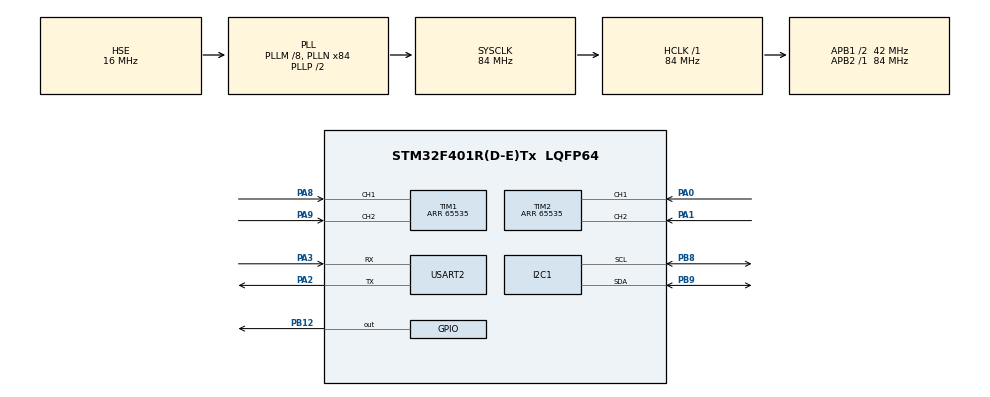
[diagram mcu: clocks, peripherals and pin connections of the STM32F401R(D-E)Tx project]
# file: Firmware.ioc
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Mcu.Family=STM32F4
RCC.PLLSourceVirtual=RCC_PLLSOURCE_HSE
TIM1.IC1Prescaler=TIM_ICPSC_DIV1
RCC.CortexFreq_Value=84000000
TIM2.IC1Filter=15
PA14.GPIO_Label=TCK
PH1\ -\ OSC_OUT.Mode=HSE-External-Oscillator
TIM1.EncoderMode=TIM_ENCODERMODE_TI1
RCC.APB1CLKDivider=RCC_HCLK_DIV2
PA9.GPIO_PuPd=GPIO_PULLUP
RCC.SYSCLKSource=RCC_SYSCLKSOURCE_PLLCLK
ProjectManager.StackSize=0x400
PA0-WKUP.Signal=S_TIM2_CH1_ETR
TIM1.ClockDivision=TIM_CLOCKDIVISION_DIV4
PA13.Signal=SYS_JTMS-SWDIO
PA3.Mode=Asynchronous
SH.S_TIM2_CH2.0=TIM2_CH2,Encoder_Interface
PH0\ -\ OSC_IN.Mode=HSE-External-Oscillator
SH.S_TIM1_CH1.0=TIM1_CH1,Encoder_Interface
PH0\ -\ OSC_IN.Signal=RCC_OSC_IN
ProjectManager.TargetToolchain=SW4STM32
RCC.HCLKFreq_Value=84000000
PB9.Mode=I2C
RCC.APB2TimFreq_Value=84000000
PA9.Signal=S_TIM1_CH2
PB12.PinState=GPIO_PIN_SET
TIM2.ClockDivision=TIM_CLOCKDIVISION_DIV4
PA1.GPIO_PuPd=GPIO_PULLUP
PA1.Signal=S_TIM2_CH2
RCC.AHBFreq_Value=84000000
RCC.HSE_VALUE=16000000
PH1\ -\ OSC_OUT.Signal=RCC_OSC_OUT
PB3.Mode=Trace_Asynchronous_SW
board=NUCLEO-F401RE
RCC.VCOOutputFreq_Value=168000000
TIM1.IC2Polarity=TIM_ICPOLARITY_FALLING
TIM1.TIM_MasterOutputTrigger=TIM_TRGO_RESET
RCC.APB2Freq_Value=84000000
SH.S_TIM1_CH2.0=TIM1_CH2,Encoder_Interface
PA14.Mode=Trace_Asynchronous_SW
NVIC.TIM2_IRQn=true\:0\:0\:false\:false\:true\:true\:true
PA8.Signal=S_TIM1_CH1
TIM2.Period=65535
PA13.Mode=Trace_Asynchronous_SW
Mcu.Name=STM32F401R(D-E)Tx
PA2.Signal=USART2_TX
PA13.GPIO_Label=TMS
NVIC.TIM1_CC_IRQn=true\:0\:0\:false\:false\:true\:true\:true
RCC.48MHZClocksFreq_Value=24000000
PB3.Signal=SYS_JTDO-SWO
RCC.SYSCLKFreq_VALUE=84000000
Mcu.Package=LQFP64
PB9.Signal=I2C1_SDA
TIM1.IC1Filter=15
USART2.VirtualMode=VM_ASYNC
SH.S_TIM2_CH1_ETR.0=TIM2_CH1,Encoder_Interface
PA14.Signal=SYS_JTCK-SWCLK
ProjectManager.HeapSize=0x200
RCC.HSI_VALUE=16000000
PA8.GPIO_PuPd=GPIO_PULLUP
RCC.PLLQ=7
NVIC.PriorityGroup=NVIC_PRIORITYGROUP_0
RCC.PLLM=8
PB8.Mode=I2C
RCC.PLLN=84
RCC.APB1TimFreq_Value=84000000
PA2.Mode=Asynchronous
PB8.Signal=I2C1_SCL
TIM1.IC2Prescaler=TIM_ICPSC_DIV4
PA0-WKUP.GPIO_PuPd=GPIO_PULLUP
TIM1.Period=65535
RCC.APB1Freq_Value=42000000
PB12.Signal=GPIO_Output
PA3.Signal=USART2_RX
PB3.GPIO_Label=SWO

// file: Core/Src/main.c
/* USER CODE BEGIN Header */
/* USER CODE END Header */

#include "main.h"

/* USER CODE BEGIN Includes */
#include <errno.h>
#include <sys/unistd.h> // STDOUT_FILENO, STDERR_FILENO
#include <stdbool.h>
#include "lib/ssd1306/ssd1306.h"
/* USER CODE END Includes */

I2C_HandleTypeDef hi2c1;

TIM_HandleTypeDef htim1;
TIM_HandleTypeDef htim2;

UART_HandleTypeDef huart2;

/* USER CODE BEGIN PV */
volatile int x = 64;
volatile int y = 64;
volatile bool shouldDraw = false;
enum DrawDirection {
    Left,
    Right,
    Up,
    Down
};
volatile enum DrawDirection dir;

/* USER CODE END PV */

void SystemClock_Config(void);

static void MX_GPIO_Init(void);

static void MX_TIM1_Init(void);

static void MX_USART2_UART_Init(void);

static void MX_I2C1_Init(void);

static void MX_TIM2_Init(void);

int main(void) {

    /* MCU Configuration--------------------------------------------------------*/

    /* Reset of all peripherals, Initializes the Flash interface and the Systick. */
    HAL_Init();

    /* Configure the system clock */
    SystemClock_Config();

    /* Initialize all configured peripherals */
    MX_GPIO_Init();
    MX_TIM1_Init();
    MX_USART2_UART_Init();
    MX_I2C1_Init();
    MX_TIM2_Init();
    /* USER CODE BEGIN 2 */

    HAL_TIM_Encoder_Start_IT(&htim2, TIM_CHANNEL_1);
    HAL_TIM_Encoder_Start_IT(&htim1, TIM_CHANNEL_1);

    ssd1306_Init();
    ssd1306_Fill(Black);

    /* USER CODE END 2 */

    /* Infinite loop */
    /* USER CODE BEGIN WHILE */
    while (1) {
        if (shouldDraw) {
            printf("shouldDraw: x = %d y = %d\r\n", x, y);

            switch (dir) {
                case Left:
                    x -= 1;
                    break;
                case Right:
                    x += 1;
                    break;
                case Up:
                    y -= 1;
                    break;
                case Down:
                    y += 1;
                    break;
            }

            ssd1306_DrawPixel(x, y, White);
            ssd1306_UpdateScreen();

            shouldDraw = false;
        }
        /* USER CODE END WHILE */

    }
}

void SystemClock_Config(void) {
    RCC_OscInitTypeDef RCC_OscInitStruct = {0};
    RCC_ClkInitTypeDef RCC_ClkInitStruct = {0};

    /** Configure the main internal regulator output voltage
    */
    __HAL_RCC_PWR_CLK_ENABLE();
    __HAL_PWR_VOLTAGESCALING_CONFIG(PWR_REGULATOR_VOLTAGE_SCALE2);
    /** Initializes the CPU, AHB and APB busses clocks
    */
    RCC_OscInitStruct.OscillatorType = RCC_OSCILLATORTYPE_HSE;
    RCC_OscInitStruct.HSEState = RCC_HSE_ON;
    RCC_OscInitStruct.PLL.PLLState = RCC_PLL_ON;
    RCC_OscInitStruct.PLL.PLLSource = RCC_PLLSOURCE_HSE;
    RCC_OscInitStruct.PLL.PLLM = 8;
    RCC_OscInitStruct.PLL.PLLN = 84;
    RCC_OscInitStruct.PLL.PLLP = RCC_PLLP_DIV2;
    RCC_OscInitStruct.PLL.PLLQ = 7;
    if (HAL_RCC_OscConfig(&RCC_OscInitStruct) != HAL_OK) {
        Error_Handler();
    }
    /** Initializes the CPU, AHB and APB busses clocks
    */
    RCC_ClkInitStruct.ClockType = RCC_CLOCKTYPE_HCLK | RCC_CLOCKTYPE_SYSCLK
                                  | RCC_CLOCKTYPE_PCLK1 | RCC_CLOCKTYPE_PCLK2;
    RCC_ClkInitStruct.SYSCLKSource = RCC_SYSCLKSOURCE_PLLCLK;
    RCC_ClkInitStruct.AHBCLKDivider = RCC_SYSCLK_DIV1;
    RCC_ClkInitStruct.APB1CLKDivider = RCC_HCLK_DIV2;
    RCC_ClkInitStruct.APB2CLKDivider = RCC_HCLK_DIV1;

    if (HAL_RCC_ClockConfig(&RCC_ClkInitStruct, FLASH_LATENCY_2) != HAL_OK) {
        Error_Handler();
    }
}

static void MX_I2C1_Init(void) {

    hi2c1.Instance = I2C1;
    hi2c1.Init.ClockSpeed = 100000;
    hi2c1.Init.DutyCycle = I2C_DUTYCYCLE_2;
    hi2c1.Init.OwnAddress1 = 0;
    hi2c1.Init.AddressingMode = I2C_ADDRESSINGMODE_7BIT;
    hi2c1.Init.DualAddressMode = I2C_DUALADDRESS_DISABLE;
    hi2c1.Init.OwnAddress2 = 0;
    hi2c1.Init.GeneralCallMode = I2C_GENERALCALL_DISABLE;
    hi2c1.Init.NoStretchMode = I2C_NOSTRETCH_DISABLE;
    if (HAL_I2C_Init(&hi2c1) != HAL_OK) {
        Error_Handler();
    }

}

static void MX_TIM1_Init(void) {

    TIM_Encoder_InitTypeDef sConfig = {0};
    TIM_MasterConfigTypeDef sMasterConfig = {0};

    htim1.Instance = TIM1;
    htim1.Init.Prescaler = 0;
    htim1.Init.CounterMode = TIM_COUNTERMODE_UP;
    htim1.Init.Period = 65535;
    htim1.Init.ClockDivision = TIM_CLOCKDIVISION_DIV4;
    htim1.Init.RepetitionCounter = 0;
    htim1.Init.AutoReloadPreload = TIM_AUTORELOAD_PRELOAD_DISABLE;
    sConfig.EncoderMode = TIM_ENCODERMODE_TI1;
    sConfig.IC1Polarity = TIM_ICPOLARITY_RISING;
    sConfig.IC1Selection = TIM_ICSELECTION_DIRECTTI;
    sConfig.IC1Prescaler = TIM_ICPSC_DIV1;
    sConfig.IC1Filter = 15;
    sConfig.IC2Polarity = TIM_ICPOLARITY_FALLING;
    sConfig.IC2Selection = TIM_ICSELECTION_DIRECTTI;
    sConfig.IC2Prescaler = TIM_ICPSC_DIV4;
    sConfig.IC2Filter = 0;
    if (HAL_TIM_Encoder_Init(&htim1, &sConfig) != HAL_OK) {
        Error_Handler();
    }
    sMasterConfig.MasterOutputTrigger = TIM_TRGO_RESET;
    sMasterConfig.MasterSlaveMode = TIM_MASTERSLAVEMODE_DISABLE;
    if (HAL_TIMEx_MasterConfigSynchronization(&htim1, &sMasterConfig) != HAL_OK) {
        Error_Handler();
    }

}

static void MX_TIM2_Init(void) {

    TIM_Encoder_InitTypeDef sConfig = {0};
    TIM_MasterConfigTypeDef sMasterConfig = {0};

    htim2.Instance = TIM2;
    htim2.Init.Prescaler = 0;
    htim2.Init.CounterMode = TIM_COUNTERMODE_UP;
    htim2.Init.Period = 65535;
    htim2.Init.ClockDivision = TIM_CLOCKDIVISION_DIV4;
    htim2.Init.AutoReloadPreload = TIM_AUTORELOAD_PRELOAD_DISABLE;
    sConfig.EncoderMode = TIM_ENCODERMODE_TI1;
    sConfig.IC1Polarity = TIM_ICPOLARITY_RISING;
    sConfig.IC1Selection = TIM_ICSELECTION_DIRECTTI;
    sConfig.IC1Prescaler = TIM_ICPSC_DIV1;
    sConfig.IC1Filter = 15;
    sConfig.IC2Polarity = TIM_ICPOLARITY_RISING;
    sConfig.IC2Selection = TIM_ICSELECTION_DIRECTTI;
    sConfig.IC2Prescaler = TIM_ICPSC_DIV1;
    sConfig.IC2Filter = 0;
    if (HAL_TIM_Encoder_Init(&htim2, &sConfig) != HAL_OK) {
        Error_Handler();
    }
    sMasterConfig.MasterOutputTrigger = TIM_TRGO_RESET;
    sMasterConfig.MasterSlaveMode = TIM_MASTERSLAVEMODE_DISABLE;
    if (HAL_TIMEx_MasterConfigSynchronization(&htim2, &sMasterConfig) != HAL_OK) {
        Error_Handler();
    }

}

static void MX_USART2_UART_Init(void) {

    huart2.Instance = USART2;
    huart2.Init.BaudRate = 115200;
    huart2.Init.WordLength = UART_WORDLENGTH_8B;
    huart2.Init.StopBits = UART_STOPBITS_1;
    huart2.Init.Parity = UART_PARITY_NONE;
    huart2.Init.Mode = UART_MODE_TX_RX;
    huart2.Init.HwFlowCtl = UART_HWCONTROL_NONE;
    huart2.Init.OverSampling = UART_OVERSAMPLING_16;
    if (HAL_UART_Init(&huart2) != HAL_OK) {
        Error_Handler();
    }

}

static void MX_GPIO_Init(void) {
    GPIO_InitTypeDef GPIO_InitStruct = {0};

    /* GPIO Ports Clock Enable */
    __HAL_RCC_GPIOH_CLK_ENABLE();
    __HAL_RCC_GPIOA_CLK_ENABLE();
    __HAL_RCC_GPIOB_CLK_ENABLE();

    /*Configure GPIO pin Output Level */
    HAL_GPIO_WritePin(GPIOB, GPIO_PIN_12, GPIO_PIN_SET);

    /*Configure GPIO pin : PB12 */
    GPIO_InitStruct.Pin = GPIO_PIN_12;
    GPIO_InitStruct.Mode = GPIO_MODE_OUTPUT_PP;
    GPIO_InitStruct.Pull = GPIO_NOPULL;
    GPIO_InitStruct.Speed = GPIO_SPEED_FREQ_LOW;
    HAL_GPIO_Init(GPIOB, &GPIO_InitStruct);

}

/* USER CODE BEGIN 4 */

void HAL_TIM_IC_CaptureCallback(TIM_HandleTypeDef *htim) {
    if (htim->Instance == TIM1) {
        // X axis
        int16_t count = TIM1->CNT;
        int rawDir = (TIM1->CR1 >> 4UL) & 0x1UL;

        dir = rawDir > 0 ? Left : Right;

        printf("X :: count: %d rawDir: %d\r\n", count / 2, rawDir);

        shouldDraw = true;
    }

    if (htim->Instance == TIM2) {
        // Y axis
        int16_t count = TIM2->CNT;
        int rawDir = (TIM2->CR1 >> 4UL) & 0x1UL;

        dir = rawDir > 0 ? Down : Up;

        printf("Y :: count: %d rawDir: %d\r\n", count / 2, rawDir);

        shouldDraw = true;
    }
}

/**
 * Overrides the built-in _write method to redirect output to UART2
 * for debugging.
 *
 * https://electronics.stackexchange.com/a/279945
 */
int _write(int file, char *data, int len) {
    if ((file != STDOUT_FILENO) && (file != STDERR_FILENO)) {
        errno = EBADF;
        return -1;
    }

    // arbitrary timeout 1000
    HAL_StatusTypeDef status = HAL_UART_Transmit(&huart2, (uint8_t *) data, len,
                                                 1000);

    // return # of bytes written - as best we can tell
    return (status == HAL_OK ? len : 0);
}

/* USER CODE END 4 */

void Error_Handler(void) {
    /* USER CODE BEGIN Error_Handler_Debug */
    /* User can add his own implementation to report the HAL error return state */
    printf("something went wrong\n\r");
    /* USER CODE END Error_Handler_Debug */
}

/************************ (C) COPYRIGHT STMicroelectronics *****END OF FILE****/
